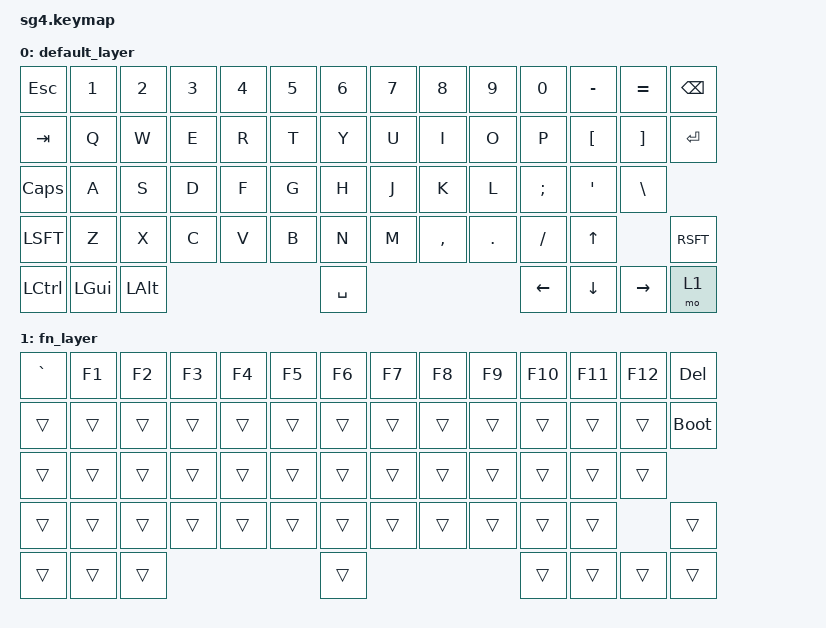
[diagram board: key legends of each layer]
#include <behaviors.dtsi>
#include <dt-bindings/zmk/keys.h>
#include <dt-bindings/zmk/bt.h>

/ {
    keymap {
        compatible = "zmk,keymap";

        default_layer {
            bindings = <
&kp ESC   &kp N1    &kp N2    &kp N3    &kp N4    &kp N5    &kp N6    &kp N7    &kp N8    &kp N9    &kp N0    &kp MINUS &kp EQUAL &kp BSPC
&kp TAB   &kp Q     &kp W     &kp E     &kp R     &kp T     &kp Y     &kp U     &kp I     &kp O     &kp P     &kp LBKT  &kp RBKT  &kp RET
&kp CLCK  &kp A     &kp S     &kp D     &kp F     &kp G     &kp H     &kp J     &kp K     &kp L     &kp SEMI  &kp SQT   &kp BSLH
&kp LSFT  &kp Z     &kp X     &kp C     &kp V     &kp B     &kp N     &kp M     &kp COMMA &kp DOT   &kp FSLH  &kp UP              &kp RSFT
&kp LCTL  &kp LGUI  &kp LALT                                &kp SPACE                               &kp LEFT  &kp DOWN  &kp RIGHT &mo 1
            >;
        };

        fn_layer {
            bindings = <
&kp GRAVE &kp F1    &kp F2    &kp F3    &kp F4    &kp F5    &kp F6    &kp F7    &kp F8    &kp F9    &kp F10   &kp F11   &kp F12   &kp DEL
&trans    &trans    &trans    &trans    &trans    &trans    &trans    &trans    &trans    &trans    &trans    &trans    &trans    &bootloader
&trans    &trans    &trans    &trans    &trans    &trans    &trans    &trans    &trans    &trans    &trans    &trans    &trans
&trans    &trans    &trans    &trans    &trans    &trans    &trans    &trans    &trans    &trans    &trans    &trans              &trans
&trans    &trans    &trans                                  &trans                                  &trans    &trans    &trans    &trans
            >;
        };
    };
};
